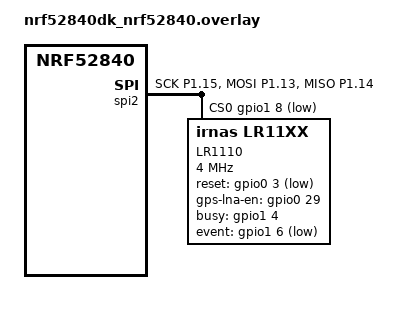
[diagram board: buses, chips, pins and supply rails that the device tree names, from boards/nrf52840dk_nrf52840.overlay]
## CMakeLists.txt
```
# SPDX-License-Identifier: Apache-2.0

cmake_minimum_required(VERSION 3.13.1)

find_package(Zephyr HINTS $ENV{ZEPHYR_BASE})
project(gnss)

zephyr_compile_options(-fdiagnostics-color=always)


zephyr_include_directories(.)
add_subdirectory(${CMAKE_CURRENT_SOURCE_DIR}/../common src/common)


target_sources(app PRIVATE src/main.c)
```

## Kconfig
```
# COPYRIGHT NOTICE: (c) 2022 Irnas. All rights reserved.

menu "Zephyr Kernel"
source "$ZEPHYR_BASE/Kconfig.zephyr"
endmenu

config GNSS_SCAN_MODE
    bool "GNSS scan mode"

choice 
    prompt "GNSS scan mode"
    default GNSS_SCAN_AUTONOMOUS
    help
      Specify GNSS scan mode.

config GNSS_SCAN_AUTONOMOUS
    bool "Autonomous GNSS scan mode"

config GNSS_SCAN_ASSISTED
    bool "Assisted GNSS scan mode"

endchoice
```

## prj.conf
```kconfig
# Enable logging (it need to be disabled for low power)
CONFIG_PRINTK=y
CONFIG_GPIO=y
CONFIG_SERIAL=y
CONFIG_CONSOLE=y
CONFIG_UART_CONSOLE=y
CONFIG_LOG=y
CONFIG_LOG_DEFAULT_LEVEL=4
CONFIG_LOG_BACKEND_UART=y

CONFIG_SPI=y
CONFIG_LR11XX_LIB=y
#CONFIG_LR11XX_LOG_LEVEL_INF=y
CONFIG_LR11XX_LOG_LEVEL_DBG=y

CONFIG_PINCTRL=y
CONFIG_NEWLIB_LIBC=y

# Select config for autonomous or assisted scan
CONFIG_GNSS_SCAN_AUTONOMOUS=y
#CONFIG_GNSS_SCAN_ASSISTED=y

# UART callback for RX
CONFIG_UART_INTERRUPT_DRIVEN=y

# For Malloc usage
CONFIG_HEAP_MEM_POOL_SIZE=4096
```

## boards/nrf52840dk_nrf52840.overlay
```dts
&spi1 {
    status = "disabled";
};

&spi2 {
    compatible = "nordic,nrf-spi";
    status = "okay";
    pinctrl-0 = <&spi2_default>;
    pinctrl-1 = <&spi2_sleep>;
    pinctrl-names = "default", "sleep";

    cs-gpios = <&gpio1 8 GPIO_ACTIVE_LOW>;
    lr1110: lr1110@0 {
        compatible = "irnas,lr11xx";
        reg = <0>;
        spi-max-frequency = <4000000>;
        label = "LR1110";

        reset-gpios = <&gpio0 3 GPIO_ACTIVE_LOW>;
        gps-lna-en-gpios = <&gpio0 29 0>;
        busy-gpios = <&gpio1 4 GPIO_ACTIVE_HIGH>;
        event-gpios = <&gpio1 6 GPIO_ACTIVE_LOW>;

        rf-sw-enable = "DIO5", "DIO6", "DIO7";
        rf-sw-standby-mode = "NONE";
        rf-sw-rx-mode = "DIO5";
        rf-sw-tx-mode = "DIO5", "DIO6";
        rf-sw-tx-hp-mode = "DIO6";
        rf-sw-tx-hf-mode = "NONE";
        rf-sw-wifi-mode = "NONE";
        rf-sw-gnss-mode = "DIO7";
    };
};

&pinctrl {
	spi2_default: spi2_default {
		group1 {
			psels = <NRF_PSEL(SPIM_SCK, 1, 15)>,
			        <NRF_PSEL(SPIM_MOSI, 1, 13)>,
			        <NRF_PSEL(SPIM_MISO, 1, 14)>;
		};
	};

	spi2_sleep: spi2_sleep {
		group1 {
			psels = <NRF_PSEL(SPIM_SCK, 1, 15)>,
			        <NRF_PSEL(SPIM_MOSI, 1, 13)>,
			        <NRF_PSEL(SPIM_MISO, 1, 14)>;
			low-power-enable;
		};
	};
};
```

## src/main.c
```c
#include <stdio.h>
#include <string.h>
#include <zephyr.h>
#include <zephyr/types.h>

#include "apps_common.h"
#include "lr11xx_system.h"
#include "smtc_board.h"
#include "smtc_hal.h"
#include "main_gnss.h"
#include "lr11xx_gnss.h"

#include <logging/log.h>
LOG_MODULE_REGISTER(main);


/*
 * -----------------------------------------------------------------------------
 * --- PRIVATE MACROS-----------------------------------------------------------
 */

#define APP_PARTIAL_SLEEP true
#define NAV_MAX_LENGTH ( 300 )

/**
 * @brief LR11xx interrupt mask used by the application
 */
#define IRQ_MASK ( LR11XX_SYSTEM_IRQ_GNSS_SCAN_DONE )

#define LATITUDE  46.452761f
#define LONGITUDE 15.641854f


/*
 * -----------------------------------------------------------------------------
 * --- PRIVATE TYPES -----------------------------------------------------------
 */

typedef struct
{
    lr11xx_gnss_solver_assistance_position_t assistance_position;
    lr11xx_gnss_scan_mode_t   scan_mode;
    lr11xx_gnss_search_mode_t effort_mode;
    uint8_t                   input_parameters;
    uint8_t                   max_sv;
} gnss_configuration_t;

/*
 * -----------------------------------------------------------------------------
 * --- PRIVATE CONSTANTS -------------------------------------------------------
 */

const gnss_configuration_t gnss_configuration = {
    .assistance_position = { .latitude  = LATITUDE,
                             .longitude = LONGITUDE },
    .scan_mode        = LR11XX_GNSS_SCAN_MODE_3_SINGLE_SCAN_AND_5_FAST_SCANS,
    .effort_mode      = LR11XX_GNSS_OPTION_BEST_EFFORT,
    .input_parameters = 0x07,
    .max_sv           = 20,
};


/*
 * -----------------------------------------------------------------------------
 * --- PRIVATE VARIABLES -------------------------------------------------------
 */

static lr11xx_hal_context_t* context;
static uint32_t              number_of_scan = 0;

/*
 * -----------------------------------------------------------------------------
 * --- PRIVATE FUNCTIONS DECLARATION -------------------------------------------
 */

/**
 * @brief Main application entry point.
 */
void main( void )
{
    int ret;
    
    LOG_INF( "===== LR11xx GNSS example =====" );

    context = apps_common_lr11xx_get_context( );

    apps_common_lr11xx_system_init( context );
    apps_common_lr11xx_fetch_and_print_version( context );

    ret = lr11xx_system_set_dio_irq_params( context, IRQ_MASK, 0 )
    if(ret)
    {
        LOG_ERR("Failed to set irq params");
    }

    ret = lr11xx_system_clear_irq_status( context, LR11XX_SYSTEM_IRQ_ALL_MASK );
    if(ret)
    {
        LOG_ERR("Failed to clear irq status");
    }

    ret = lr11xx_gnss_set_scan_mode( context, gnss_configuration.scan_mode);
    if(ret)
    {
        LOG_ERR("Failed to set scan mode");
    }

    ret = 


    while( 1 )
    {
        k_sleep(K_MSEC(1));
    }
}
```

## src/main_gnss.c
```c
/*!
 * @file      main_gnss.c
 *
 * @brief     GNSS scan example for LR11xx chip
 *
 * The Clear BSD License
 * Copyright Semtech Corporation 2022. All rights reserved.
 *
 * Redistribution and use in source and binary forms, with or without
 * modification, are permitted (subject to the limitations in the disclaimer
 * below) provided that the following conditions are met:
 *     * Redistributions of source code must retain the above copyright
 *       notice, this list of conditions and the following disclaimer.
 *     * Redistributions in binary form must reproduce the above copyright
 *       notice, this list of conditions and the following disclaimer in the
 *       documentation and/or other materials provided with the distribution.
 *     * Neither the name of the Semtech corporation nor the
 *       names of its contributors may be used to endorse or promote products
 *       derived from this software without specific prior written permission.
 *
 * NO EXPRESS OR IMPLIED LICENSES TO ANY PARTY'S PATENT RIGHTS ARE GRANTED BY
 * THIS LICENSE. THIS SOFTWARE IS PROVIDED BY THE COPYRIGHT HOLDERS AND
 * CONTRIBUTORS "AS IS" AND ANY EXPRESS OR IMPLIED WARRANTIES, INCLUDING, BUT
 * NOT LIMITED TO, THE IMPLIED WARRANTIES OF MERCHANTABILITY AND FITNESS FOR A
 * PARTICULAR PURPOSE ARE DISCLAIMED. IN NO EVENT SHALL SEMTECH CORPORATION BE
 * LIABLE FOR ANY DIRECT, INDIRECT, INCIDENTAL, SPECIAL, EXEMPLARY, OR
 * CONSEQUENTIAL DAMAGES (INCLUDING, BUT NOT LIMITED TO, PROCUREMENT OF
 * SUBSTITUTE GOODS OR SERVICES; LOSS OF USE, DATA, OR PROFITS; OR BUSINESS
 * INTERRUPTION) HOWEVER CAUSED AND ON ANY THEORY OF LIABILITY, WHETHER IN
 * CONTRACT, STRICT LIABILITY, OR TORT (INCLUDING NEGLIGENCE OR OTHERWISE)
 * ARISING IN ANY WAY OUT OF THE USE OF THIS SOFTWARE, EVEN IF ADVISED OF THE
 * POSSIBILITY OF SUCH DAMAGE.
 */

/*
 * -----------------------------------------------------------------------------
 * --- DEPENDENCIES ------------------------------------------------------------
 */

#include <stdio.h>
#include <string.h>
#include <stdlib.h>
#include <zephyr/kernel.h>
#include <zephyr/types.h>
#include <zephyr/device.h>
#include <zephyr/devicetree.h>

#include "apps_common.h"
#include "lr11xx_system.h"
#include "main_gnss.h"
#include "lr11xx_gnss.h"
#include "lr11xx_board.h"

#include "gnss_example_api.h"

#include <zephyr/logging/log.h>
LOG_MODULE_REGISTER(main);

/*
 * -----------------------------------------------------------------------------
 * --- PRIVATE MACROS-----------------------------------------------------------
 */

#define APP_PARTIAL_SLEEP true
#define NAV_MAX_LENGTH ( 300 )

/**
 * @brief LR11xx interrupt mask used by the application
 */
#define IRQ_MASK ( LR11XX_SYSTEM_IRQ_GNSS_SCAN_DONE )

/*
 * -----------------------------------------------------------------------------
 * --- PRIVATE TYPES -----------------------------------------------------------
 */

/*
 * -----------------------------------------------------------------------------
 * --- PRIVATE CONSTANTS -------------------------------------------------------
 */

/*
 * -----------------------------------------------------------------------------
 * --- PRIVATE VARIABLES -------------------------------------------------------
 */

const struct device *context = DEVICE_DT_GET(DT_NODELABEL(lr11xx));
static uint32_t              number_of_scan = 0;

/*
 * -----------------------------------------------------------------------------
 * --- PRIVATE FUNCTIONS DECLARATION -------------------------------------------
 */

/**
 * @brief Handle the start of a new GNSS scan
 *
 * It also check that a new Wi-Fi scan can start
 *
 */
static void start_scan( );

/**
 * @brief Handle the printing of results
 *
 * It includes the printing of detected SVs and cumulative timings.
 *
 */
static void fetch_and_print_results( void );

/**
 * @brief Helper function that indicate if a new scan can be started or if the demo is terminated
 *
 * @return true New scan can start
 * @return false The demo is terminated
 */
static bool can_execute_next_scan( void );

/*
 * -----------------------------------------------------------------------------
 * --- PUBLIC FUNCTIONS DEFINITION ---------------------------------------------
 */

/**
 * @brief Main application entry point.
 */
int main( void )
{
    LOG_INF( "===== %s =====\n", gnss_get_example_name( ) );

    apps_common_lr11xx_system_init( context );

    apps_common_lr11xx_fetch_and_print_version( context );

    int ret = 0;

    LOG_INF("Set dio irq mask");
    ret = lr11xx_system_set_dio_irq_params( context, IRQ_MASK, 0 );
    if(ret)
    {
        LOG_ERR("Failed to set dio irq params.");
    }

    LOG_INF("Clear irq status");
    ret = lr11xx_system_clear_irq_status( context, LR11XX_SYSTEM_IRQ_ALL_MASK );
    if(ret)
    {
        LOG_ERR("Failed to set dio irq params.");
    }

    apps_common_lr11xx_enable_irq(context);

    gnss_init( context );
    start_scan( );

    while( 1 )
    {
        apps_common_lr11xx_irq_process( context, IRQ_MASK );
        k_sleep(K_MSEC(1));
    }
}

void start_scan( void )
{
    if( can_execute_next_scan( ) )
    {
        gnss_call_scan( context );
        k_sleep(K_SECONDS(5));
    }
}

static void fetch_and_print_results( void )
{
    LOG_INF( "== Scan #%d ==", number_of_scan );

    lr11xx_gnss_timings_t gnss_timing = { 0 };
    int ret = lr11xx_gnss_get_timings( context, &gnss_timing );
    if(ret)
    {
        LOG_ERR("Failed to get timings.");
    }

    LOG_INF( "Timings:" );
    LOG_INF( "  - radio: %u ms", gnss_timing.radio_ms );
    LOG_INF( "  - computation: %u ms", gnss_timing.computation_ms );

    uint8_t                          n_sv_detected            = 0;
    lr11xx_gnss_detected_satellite_t sv_detected[GNSS_MAX_SV] = { 0 };
    ret = lr11xx_gnss_get_nb_detected_satellites( context, &n_sv_detected );
    if(ret)
    {
        LOG_ERR("Failed to get nr. of satellites.");
    }

    if( n_sv_detected > GNSS_MAX_SV )
    {
        LOG_ERR( "More SV detected than configured (detected %u, max is %u)", n_sv_detected,
                             GNSS_MAX_SV );
        return;
    }

    ret = lr11xx_gnss_get_detected_satellites( context, n_sv_detected, sv_detected );
    if(ret)
    {
        LOG_ERR("Failed to get detected satellites.");
    }

    uint16_t result_size         = 0;
    uint8_t  nav[NAV_MAX_LENGTH] = { 0 };
    ret =  lr11xx_gnss_get_result_size( context, &result_size );
    if(ret)
    {
        LOG_ERR("Failed to get result size.");
    }

    if( result_size > NAV_MAX_LENGTH )
    {
        LOG_ERR( "Result size too long (size %u, max is %u)", result_size, NAV_MAX_LENGTH );
        return;
    }

    ret = lr11xx_gnss_read_results( context, nav, result_size );
    if(ret)
    {
        LOG_ERR("Failed to read results.");
    }

    LOG_INF( "Detected %u SV(s):", n_sv_detected );
    for( uint8_t index_sv = 0; index_sv < n_sv_detected; index_sv++ )
    {
        const lr11xx_gnss_detected_satellite_t* local_sv = &sv_detected[index_sv];
        LOG_INF( "  - SV %u: CNR: %i, doppler: %i", local_sv->satellite_id, local_sv->cnr,
                            local_sv->doppler );
    }

    //Print nav message
    LOG_INF( "NAV message:");
    for(uint8_t i = 0; i < result_size; i++)
    {
        printk("%x ", nav[i]);
    }
    printk("\n");
}

bool can_execute_next_scan( void )
{
    const uint32_t max_n_scans = GNSS_MAX_SCANS;
    if( max_n_scans == 0 )
    {
        // If the maximum number of scan is set to 0, the example run indefinitely
        return true;
    }
    else
    {
        return ( number_of_scan < max_n_scans ) ? true : false;
    }
}

void on_gnss_scan_done( void )
{
    number_of_scan++;

    fetch_and_print_results( );

    start_scan( );
}
```
